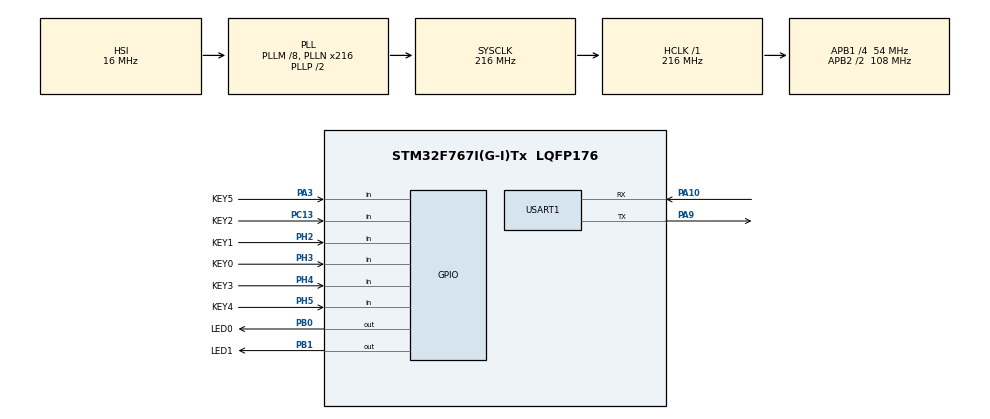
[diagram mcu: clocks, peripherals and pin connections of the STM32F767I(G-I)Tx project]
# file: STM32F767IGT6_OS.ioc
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Mcu.Family=STM32F7
Mcu.Name=STM32F767I(G-I)Tx
Mcu.Package=LQFP176
NVIC.PriorityGroup=NVIC_PRIORITYGROUP_4
NVIC.TIM1_UP_TIM10_IRQn=true\:0\:0\:true\:false\:true\:false\:true\:true
NVIC.TIM4_IRQn=true\:0\:0\:true\:false\:true\:true\:true\:true
NVIC.TimeBase=TIM1_UP_TIM10_IRQn
NVIC.TimeBaseIP=TIM1
PA10.Mode=Asynchronous
PA10.Signal=USART1_RX
PA13.Mode=Trace_Asynchronous_SW
PA13.Signal=SYS_JTMS-SWDIO
PA14.Mode=Trace_Asynchronous_SW
PA14.Signal=SYS_JTCK-SWCLK
PA3.GPIO_Label=KEY5
PA3.GPIO_Mode=GPIO_MODE_INPUT
PA3.GPIO_PuPd=GPIO_PULLUP
PA3.Signal=GPIO_Input
PA9.Mode=Asynchronous
PA9.Signal=USART1_TX
PB0.GPIO_Label=LED0
PB0.GPIO_ModeDefaultOutputPP=GPIO_MODE_OUTPUT_PP
PB0.GPIO_PuPd=GPIO_PULLUP
PB0.GPIO_Speed=GPIO_SPEED_FREQ_HIGH
PB0.PinState=GPIO_PIN_SET
PB0.Signal=GPIO_Output
PB1.GPIO_Label=LED1
PB1.GPIO_ModeDefaultOutputPP=GPIO_MODE_OUTPUT_PP
PB1.GPIO_PuPd=GPIO_PULLUP
PB1.GPIO_Speed=GPIO_SPEED_FREQ_HIGH
PB1.PinState=GPIO_PIN_SET
PB1.Signal=GPIO_Output
PB3.Mode=Trace_Asynchronous_SW
PB3.Signal=SYS_JTDO-SWO
PC13.GPIO_Label=KEY2
PC13.GPIO_Mode=GPIO_MODE_INPUT
PC13.GPIO_PuPd=GPIO_PULLUP
PC13.Signal=GPIO_Input
PH0/OSC_IN.Mode=HSE-External-Oscillator
PH0/OSC_IN.Signal=RCC_OSC_IN
PH1/OSC_OUT.Mode=HSE-External-Oscillator
PH1/OSC_OUT.Signal=RCC_OSC_OUT
PH2.GPIO_Label=KEY1
PH2.GPIO_Mode=GPIO_MODE_INPUT
PH2.GPIO_PuPd=GPIO_PULLUP
PH2.Signal=GPIO_Input
PH3.GPIO_Label=KEY0
PH3.GPIO_Mode=GPIO_MODE_INPUT
PH3.GPIO_PuPd=GPIO_PULLUP
PH3.Signal=GPIO_Input
PH4.GPIO_Label=KEY3
PH4.GPIO_Mode=GPIO_MODE_INPUT
PH4.GPIO_PuPd=GPIO_PULLUP
PH4.Signal=GPIO_Input
PH5.GPIO_Label=KEY4
PH5.GPIO_Mode=GPIO_MODE_INPUT
PH5.GPIO_PuPd=GPIO_PULLUP
PH5.Signal=GPIO_Input
ProjectManager.HeapSize=0x200
ProjectManager.StackSize=0x400
ProjectManager.TargetToolchain=STM32CubeIDE
RCC.AHBFreq_Value=216000000
RCC.APB1CLKDivider=RCC_HCLK_DIV4
RCC.APB1Freq_Value=54000000
RCC.APB1TimFreq_Value=108000000
RCC.APB2CLKDivider=RCC_HCLK_DIV2
RCC.APB2Freq_Value=108000000
RCC.APB2TimFreq_Value=216000000
RCC.CortexFreq_Value=216000000
RCC.HCLKFreq_Value=216000000
RCC.HSE_VALUE=25000000
RCC.HSI_VALUE=16000000
RCC.LSE_VALUE=32768
RCC.PLLM=8
RCC.PLLN=216
RCC.SYSCLKFreq_VALUE=216000000
RCC.SYSCLKSource=RCC_SYSCLKSOURCE_PLLCLK
RCC.USBFreq_Value=216000000
RCC.VCOOutputFreq_Value=432000000
TIM4.Period=50
TIM4.Prescaler=108-1
USART1.VirtualMode-Asynchronous=VM_ASYNC
VP_SYS_VS_tim1.Mode=TIM1
VP_TIM4_VS_ClockSourceINT.Mode=Internal
board=custom

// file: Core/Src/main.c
/* USER CODE BEGIN Header */
/**
 ******************************************************************************
 * @file           : main.c
 * @brief          : Main program body
 ******************************************************************************
 * @attention
 *
 * Copyright (c) 2022 STMicroelectronics.
 * All rights reserved.
 *
 * This software is licensed under terms that can be found in the LICENSE file
 * in the root directory of this software component.
 * If no LICENSE file comes with this software, it is provided AS-IS.
 *
 ******************************************************************************
 */
/* USER CODE END Header */
#include "main.h"
#include "tim.h"
#include "usart.h"
#include "gpio.h"

/* USER CODE BEGIN Includes */
#include "OS_System.h"
#include "cpu.h"
#include "hal_time.h"
#include "key.h"
#include "led.h"
#include "user.h"
#include <stdio.h>

/* USER CODE END Includes */

void SystemClock_Config(void);

int main(void)
{

  /* MCU Configuration--------------------------------------------------------*/

  /* Reset of all peripherals, Initializes the Flash interface and the Systick. */
  HAL_Init();

  /* Configure the system clock */
  SystemClock_Config();

  /* Initialize all configured peripherals */
  MX_GPIO_Init();
  MX_USART1_UART_Init();
  MX_TIM4_Init();
  /* USER CODE BEGIN 2 */
  HAL_TIM_Base_Start_IT(&htim4);
  hal_CPUInit();
  OS_TaskInit();
  hal_TimeInit();

  // hal_CreatTimer(T_LED, hal_ledProc, 20000, T_STA_START);
  // */

  hal_LedInit();
  OS_CreatTask(OS_TASK1, hal_LedProc, 1, OS_RUN);

  hal_KeyInit();
  OS_CreatTask(OS_TASK2, hal_KeyProc, 1, OS_RUN);

  UserInit();
  OS_CreatTask(OS_TASK3, UserProc, 1, OS_RUN);

  UserInit();
  OS_CreatTask(OS_TASK4, UserProc, 1, OS_RUN);

  OS_Start();
  /* USER CODE END 2 */

  /* Infinite loop */
  /* USER CODE BEGIN WHILE */
  while (1) {
    //    HAL_GPIO_TogglePin(LED0_GPIO_Port, LED0_Pin);
    //    HAL_GPIO_TogglePin(LED1_GPIO_Port, LED1_Pin);
    //    HAL_Delay(20);
    /* USER CODE END WHILE */

  }
}

void SystemClock_Config(void)
{
  RCC_OscInitTypeDef RCC_OscInitStruct = {0};
  RCC_ClkInitTypeDef RCC_ClkInitStruct = {0};

  /** Configure the main internal regulator output voltage
  */
  __HAL_RCC_PWR_CLK_ENABLE();
  __HAL_PWR_VOLTAGESCALING_CONFIG(PWR_REGULATOR_VOLTAGE_SCALE1);

  /** Initializes the RCC Oscillators according to the specified parameters
  * in the RCC_OscInitTypeDef structure.
  */
  RCC_OscInitStruct.OscillatorType = RCC_OSCILLATORTYPE_HSI;
  RCC_OscInitStruct.HSIState = RCC_HSI_ON;
  RCC_OscInitStruct.HSICalibrationValue = RCC_HSICALIBRATION_DEFAULT;
  RCC_OscInitStruct.PLL.PLLState = RCC_PLL_ON;
  RCC_OscInitStruct.PLL.PLLSource = RCC_PLLSOURCE_HSI;
  RCC_OscInitStruct.PLL.PLLM = 8;
  RCC_OscInitStruct.PLL.PLLN = 216;
  RCC_OscInitStruct.PLL.PLLP = RCC_PLLP_DIV2;
  RCC_OscInitStruct.PLL.PLLQ = 2;
  RCC_OscInitStruct.PLL.PLLR = 2;
  if (HAL_RCC_OscConfig(&RCC_OscInitStruct) != HAL_OK)
  {
    Error_Handler();
  }

  /** Activate the Over-Drive mode
  */
  if (HAL_PWREx_EnableOverDrive() != HAL_OK)
  {
    Error_Handler();
  }

  /** Initializes the CPU, AHB and APB buses clocks
  */
  RCC_ClkInitStruct.ClockType = RCC_CLOCKTYPE_HCLK|RCC_CLOCKTYPE_SYSCLK
                              |RCC_CLOCKTYPE_PCLK1|RCC_CLOCKTYPE_PCLK2;
  RCC_ClkInitStruct.SYSCLKSource = RCC_SYSCLKSOURCE_PLLCLK;
  RCC_ClkInitStruct.AHBCLKDivider = RCC_SYSCLK_DIV1;
  RCC_ClkInitStruct.APB1CLKDivider = RCC_HCLK_DIV4;
  RCC_ClkInitStruct.APB2CLKDivider = RCC_HCLK_DIV2;

  if (HAL_RCC_ClockConfig(&RCC_ClkInitStruct, FLASH_LATENCY_7) != HAL_OK)
  {
    Error_Handler();
  }
}

void HAL_TIM_PeriodElapsedCallback(TIM_HandleTypeDef *htim)
{
  if (htim->Instance == TIM1) {
    HAL_IncTick();
  }
}

void Error_Handler(void)
{
  __disable_irq();
  while (1) {
  }
}

#ifdef  USE_FULL_ASSERT
/**
  * @brief  Reports the name of the source file and the source line number
  *         where the assert_param error has occurred.
  * @param  file: pointer to the source file name
  * @param  line: assert_param error line source number
  * @retval None
  */
void assert_failed(uint8_t *file, uint32_t line)
{
  /* USER CODE BEGIN 6 */
  /* User can add his own implementation to report the file name and line
     number,
     ex: printf("Wrong parameters value: file %s on line %d\r\n", file, line) */
  /* USER CODE END 6 */
}
#endif /* USE_FULL_ASSERT */
